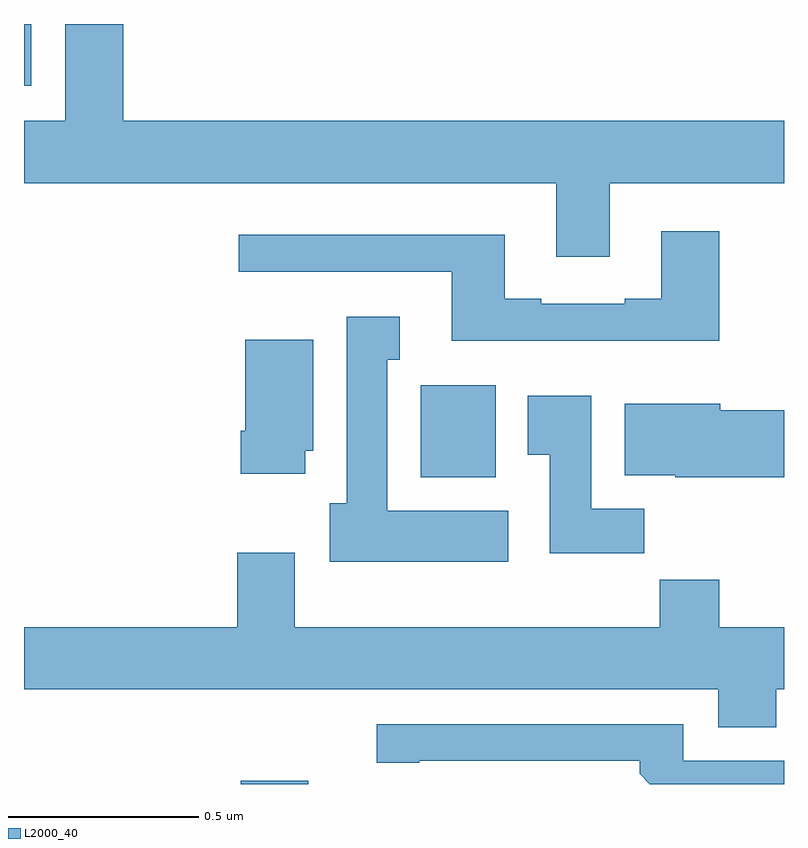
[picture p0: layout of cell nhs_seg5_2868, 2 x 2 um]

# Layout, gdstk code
import gdstk
lib = gdstk.Library(unit=1e-6, precision=1e-09)
def R(c, l, rs):  # rectangles x0, y0, x1, y1
    for r in rs: c.add(gdstk.rectangle(r[:2], r[2:], *l))
def P(c, l, *ps):  # polygons
    for p in ps: c.add(gdstk.Polygon(p, *l))
L2000_40 = (2000, 40)

nhs_seg5_2868 = lib.new_cell('nhs_seg5_2868')
R(nhs_seg5_2868, L2000_40, [(149.57,901.799,149.748,901.807), (150.044,902.606,150.241,902.848), (149,903.636,149.019,903.799)])
P(nhs_seg5_2868, L2000_40, [(150.541,903.38),(151,903.38),(151,903.544),(149.261,903.544),(149.261,903.799),(149.108,903.799),(149.108,903.544),(149,903.544),(149,903.38),(150.401,903.38),(150.401,903.186),(150.541,903.186)],
  [(150.83,903.253),(150.677,903.253),(150.677,903.076),(150.581,903.076),(150.581,903.063),(150.361,903.063),(150.361,903.076),(150.265,903.076),(150.265,903.244),(149.565,903.244),(149.565,903.147),(150.125,903.147),(150.125,902.966),(150.83,902.966)],
  [(150.274,902.518),(149.956,902.518),(149.956,902.915),(149.989,902.915),(149.989,903.028),(149.849,903.028),(149.849,902.538),(149.804,902.538),(149.804,902.384),(150.274,902.384)],
  [(149.74,902.676),(149.761,902.676),(149.761,902.968),(149.582,902.968),(149.582,902.728),(149.57,902.728),(149.57,902.616),(149.74,902.616)],
  [(150.632,902.524),(150.493,902.524),(150.493,902.821),(150.326,902.821),(150.326,902.665),(150.383,902.665),(150.383,902.406),(150.632,902.406)],
  [(151,902.783),(150.832,902.783),(150.832,902.8),(150.581,902.8),(150.581,902.612),(150.714,902.612),(150.714,902.606),(151,902.606)],
  [(150.98,902.048),(151,902.048),(151,902.212),(150.83,902.212),(150.83,902.336),(150.673,902.336),(150.673,902.212),(149.713,902.212),(149.713,902.407),(149.561,902.407),(149.561,902.212),(149,902.212),(149,902.048),(150.827,902.048),(150.827,901.949),(150.98,901.949)],
  [(151,901.86),(150.735,901.86),(150.735,901.956),(149.928,901.956),(149.928,901.855),(150.04,901.855),(150.04,901.86),(150.62,901.86),(150.62,901.826),(150.647,901.799),(151,901.799)])

lib.write_gds('nhs_seg5_2868.gds')
